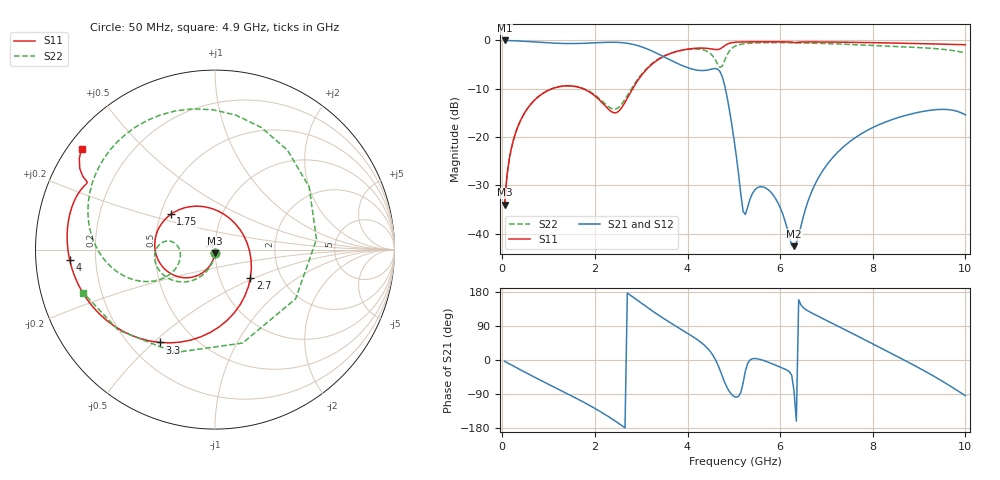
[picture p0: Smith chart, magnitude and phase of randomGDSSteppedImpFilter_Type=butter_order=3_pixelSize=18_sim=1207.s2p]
! freq	dB(S11)	phase(S11)	dB(S12)	phase(S12)
!  dB(S21)	phase(S21)	dB(S22)	phase(S22)
!S-par simulation data
#  GHz  S  DB  R 50
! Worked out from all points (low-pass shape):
!   200 points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, 50 MHz to 10 GHz, reference 50 ohm
!   highest |S21| = -0.01 dB at 50 MHz (marker M1); lowest = -42.6 dB at 6.3 GHz (marker M2)
!   |S21| within 3 dB of the highest: start of sweep to 3.411 GHz
!   lowest |S11| = -34.0 dB at 50 MHz (marker M3), VSWR 1.04, Z = 49.8 - j1.98 ohm
!   |S11| at or under -10 dB: start of sweep to 1.078 GHz; 1.741 GHz to 2.815 GHz (1.074 GHz wide, 47.2 % of centre)
!   |S22| runs from -34.0 to -0.5 dB; largest |S21 - S12| = 0
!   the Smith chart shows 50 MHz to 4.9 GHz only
!   S11 on the Smith chart (normalised r, x): 50 MHz: 1.00, -0.04; 1.75 GHz: 0.57, +0.25; 2.7 GHz: 1.40, -0.47; 3.3 GHz: 0.32, -0.52; 4 GHz: 0.10, -0.03; 4.9 GHz: 0.04, +0.34
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0.05  -34.01 -93.3  -0.01 -3.4  -0.01 -3.4  -34.01 -92.8
0.2  -22.15 -104.6  -0.05 -13.3  -0.05 -13.3  -22.15 -102.5
0.55  -14.01 -129.6  -0.23 -36.1  -0.23 -36.1  -14.00 -123.6
1.75  -10.03 141.5  -0.60 -110.9  -0.60 -110.9  -9.96 176.5
2.7  -11.96 -38.5  -0.60 176.7  -0.60 176.7  -11.41 -152.0
3.3  -4.41 -120.7  -2.49 124.4  -2.49 124.4  -4.30 -173.4
3.4  -3.77 -130.2  -2.96 116.3  -2.96 116.3  -3.68 -180.0
4  -1.81 -176.0  -5.63 70.6  -5.63 70.6  -1.87 136.4
4.45  -1.67 158.3  -6.10 28.4  -6.10 28.4  -2.41 81.1
4.65  -1.89 152.2  -5.95 -11.3  -5.95 -11.3  -4.91 5.7
4.75  -1.47 150.9  -7.50 -42.6  -7.50 -42.6  -5.31 -73.6
4.9  -0.61 142.9  -14.14 -82.8  -14.14 -82.8  -2.24 -161.9
5.05  -0.36 133.5  -23.69 -98.3  -23.69 -98.3  -1.09 158.7
5.2  -0.31 125.3  -35.43 -60.8  -35.43 -60.8  -0.73 136.2
5.7  -0.29 101.6  -30.62 -3.9  -30.62 -3.9  -0.48 91.6
6.3  -0.44 75.1  -42.60 -82.5  -42.60 -82.5  -0.51 49.1
6.7  -0.32 59.0  -30.88 123.0  -30.88 123.0  -0.57 20.3
7.7  -0.41 18.1  -19.64 61.3  -19.64 61.3  -0.91 -60.2
8.35  -0.52 -7.4  -16.62 20.6  -16.62 20.6  -1.19 -117.5
9.15  -0.70 -37.6  -14.59 -31.1  -14.59 -31.1  -1.56 164.6
9.65  -0.82 -55.9  -14.35 -67.0  -14.35 -67.0  -1.99 103.1
10  -0.89 -68.8  -15.42 -94.1  -15.42 -94.1  -2.57 47.9
